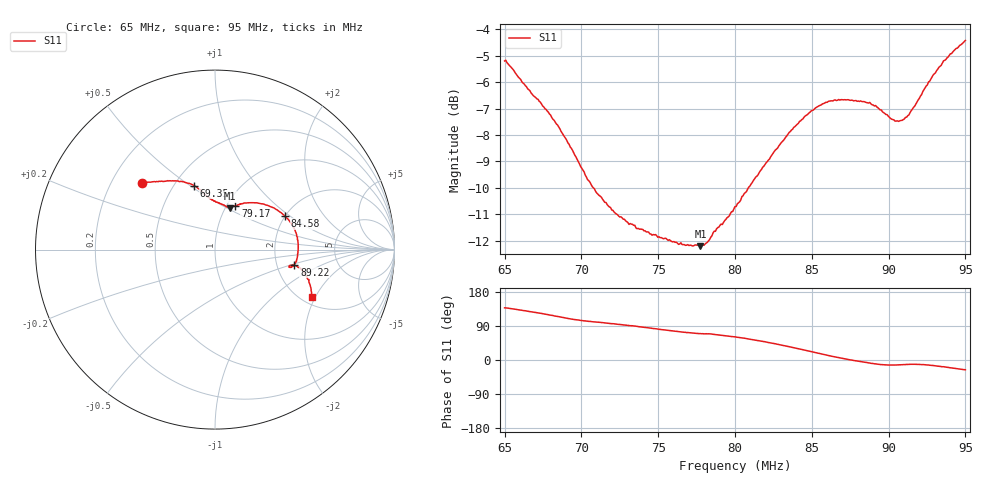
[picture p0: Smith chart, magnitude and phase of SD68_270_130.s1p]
! NanoVNA-App
! Date: 2025-08-09 13:37:00
! Start: 65MHz Stop: 95MHz Points: 401
! S-Parameter data: F S11
# Hz S RI R 50
!  Frequency  S11_Real  S11_Imag
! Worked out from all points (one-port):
!   401 points, 65 MHz to 95 MHz, reference 50 ohm
!   lowest |S11| = -12.2 dB at 77.75 MHz (marker M1), VSWR 1.65, Z = 52.8 + j25.8 ohm
!   |S11| at or under -10 dB: 70.78 MHz to 80.87 MHz (10.09 MHz wide, 13.3 % of centre)
!   S11 on the Smith chart (normalised r, x): 65 MHz: 0.33, +0.35; 69.35 MHz: 0.62, +0.52; 79.17 MHz: 1.10, +0.58; 84.58 MHz: 1.99, +0.92; 89.22 MHz: 2.51, -0.53; 95 MHz: 2.28, -1.88
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6.5e7  -0.4063 0.3705
6.725e7  -0.2577 0.3826
6.875e7  -0.1539 0.3705
6.935e7  -0.1167 0.3569
7.01e7  -0.081 0.3319
7.085e7  -0.0581 0.3094
7.25e7  -0.0189 0.2777
7.37e7  0.00869 0.2648
7.625e7  0.0627 0.2404
7.775e7  0.0852 0.2299
7.8125e7  0.0878 0.2325
7.9175e7  0.1138 0.2442
8e7  0.1402 0.2554
8.195e7  0.2335 0.2606
8.2775e7  0.2821 0.2488
8.375e7  0.3424 0.2225
8.4575e7  0.3896 0.1882
8.5325e7  0.4257 0.1447
8.6075e7  0.4509 0.0954
8.75e7  0.463 0.00285
8.9225e7  0.4422 -0.0839
8.9825e7  0.4239 -0.0993
9.035e7  0.4137 -0.0979
9.125e7  0.4243 -0.0867
9.185e7  0.4508 -0.0898
9.2525e7  0.4824 -0.1127
9.365e7  0.5236 -0.1726
9.5e7  0.541 -0.2625
